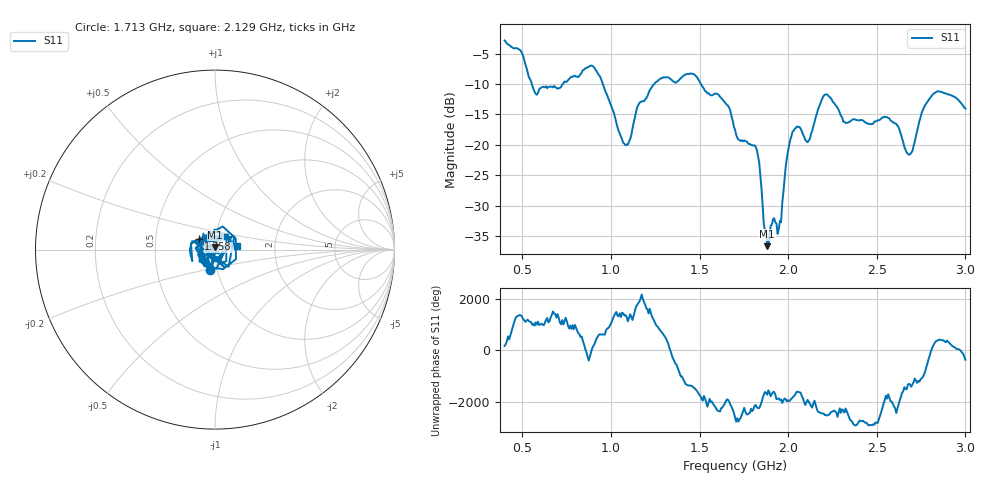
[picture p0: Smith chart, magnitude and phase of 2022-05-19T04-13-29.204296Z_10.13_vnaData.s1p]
!Created with skrf (http://scikit-rf.org).
# Hz S RI R 50.0
!freq ReS11 ImS11
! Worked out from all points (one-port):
!   401 points, 400 MHz to 3 GHz, reference 50 ohm
!   lowest |S11| = -36.7 dB at 1.882 GHz (marker M1), VSWR 1.03, Z = 50.1 + j1.47 ohm
!   |S11| at or under -10 dB: 553.5 MHz to 729 MHz (175.6 MHz wide, 27.4 % of centre); 953.9 MHz to 1.245 GHz (291.2 MHz wide, 26.5 % of centre); 1.508 GHz to end of sweep
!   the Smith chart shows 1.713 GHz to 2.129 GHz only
!   S11 on the Smith chart (normalised r, x): 1.713 GHz: 0.93, -0.21; 1.758 GHz: 0.83, +0.10; 2.129 GHz: 1.27, +0.06
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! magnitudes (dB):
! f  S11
! 400 MHz  -2.9
! 491 MHz  -4.6
! 575.5 MHz  -11.6
! 725 MHz  -10.1
! 900.5 MHz  -7.2
! 1.05 GHz  -18.2
! 1.095 GHz  -20.0
! 1.154 GHz  -13.5
! 1.258 GHz  -9.6
! 1.375 GHz  -9.6
! 1.46 GHz  -8.3
! 1.609 GHz  -11.8
! 1.7 GHz  -17.5
! 1.713 GHz  -18.9
! 1.758 GHz  -19.4
! 1.823 GHz  -20.9
! 1.882 GHz  -36.7
! 1.954 GHz  -32.5
! 1.992 GHz  -22.3
! 2.025 GHz  -17.8
! 2.129 GHz  -18.2
! 2.213 GHz  -11.7
! 2.35 GHz  -16.2
! 2.558 GHz  -15.4
! 2.616 GHz  -16.9
! 2.675 GHz  -21.5
! 2.825 GHz  -11.5
! 3 GHz  -14.1
